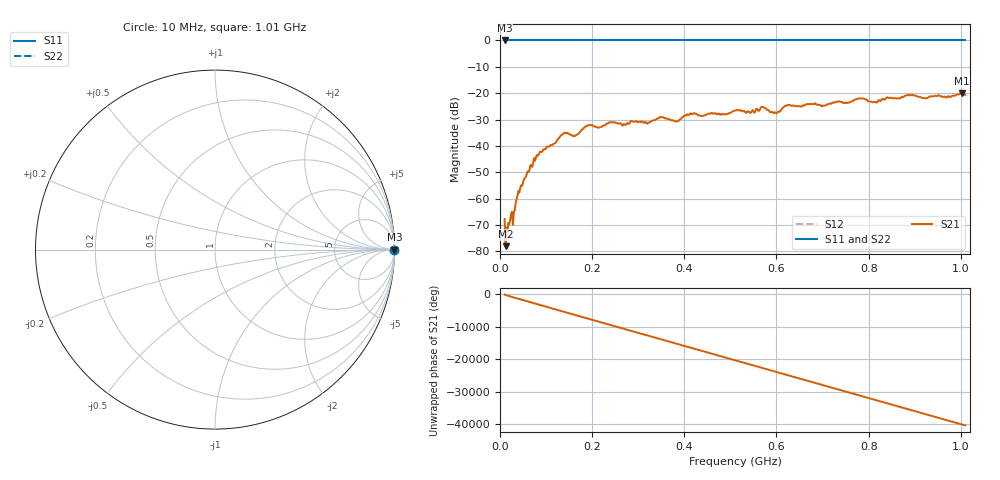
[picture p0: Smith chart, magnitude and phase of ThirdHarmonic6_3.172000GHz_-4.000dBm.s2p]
! 8/17/2025 9:33:11 AM
! C:\ANRITSUVNA\TEMP\TEMP.S2P
! CHANNEL.1
! TR.MEASUREMENT
! RAW.DATA
! RF.CORRECTION.OFF
! AVERAGING.OFF
! IF.BANDWIDTH: 5KHZ
! SWEEPTYPE:  FREQ.SWEEP(Linear)
! Reference Plane Port Info
! PORT:  PORT1  PORT2
! DISTANCE:  0  m  0  m
! TIME:  0  s  0  s
! PHASE.OFFSET:  0  deg.  0  deg.
! LOSS:  0  dB  0  dB
! REF.LOSS:  0  dB  0  dB
! REF.FREQ:  0  Hz  0  Hz
! Power Info
! POWER:  -20  dBm  -20  dBm
! EFF.POWER:  -20  dBm  -20  dBm
! SOURCE.ATTEN:  0  dB  0  dB
! TEST.ATTEN:  0  dB  0  dB
# GHZ S RI R 50.0
! FREQ.GHZ  S11RE  S11IM  S21RE  S21IM  S12RE  S12IM  S22RE  S22IM
!; PortSelection: Port_12
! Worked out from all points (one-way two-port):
!   501 points, 10 MHz to 1.01 GHz, reference 50 ohm
!   highest |S21| = -20.01 dB at 1.002 GHz (marker M1); lowest = -78.1 dB at 12 MHz (marker M2)
!   lowest |S11| = 0.0 dB at 10 MHz (marker M3)
!   |S11| at or under -10 dB: nowhere
!   |S22| runs from 0.0 to 0.0 dB; largest |S21 - S12| = 1.1
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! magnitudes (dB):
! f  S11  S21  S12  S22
! 10 MHz  0.0  -67.7  0.0  0.0
! 12 MHz  0.0  -78.1  0.0  0.0
! 16 MHz  0.0  -72.9  0.0  0.0
! 22 MHz  0.0  -68.1  0.0  0.0
! 32 MHz  0.0  -64.2  0.0  0.0
! 42 MHz  0.0  -57.8  0.0  0.0
! 82 MHz  0.0  -43.7  0.0  0.0
! 136 MHz  0.0  -35.7  0.0  0.0
! 162 MHz  0.0  -36.3  0.0  0.0
! 178 MHz  0.0  -33.8  0.0  0.0
! 192 MHz  0.0  -32.1  0.0  0.0
! 344 MHz  0.0  -29.6  0.0  0.0
! 384 MHz  0.0  -30.7  0.0  0.0
! 410 MHz  0.0  -28.3  0.0  0.0
! 510 MHz  0.0  -26.6  0.0  0.0
! 570 MHz  0.0  -25.3  0.0  0.0
! 598 MHz  0.0  -27.4  0.0  0.0
! 622 MHz  0.0  -24.6  0.0  0.0
! 678 MHz  0.0  -24.1  0.0  0.0
! 844 MHz  0.0  -21.8  0.0  0.0
! 1.002 GHz  0.0  -20.0  0.0  0.0
! 1.01 GHz  0.0  -20.6  0.0  0.0
